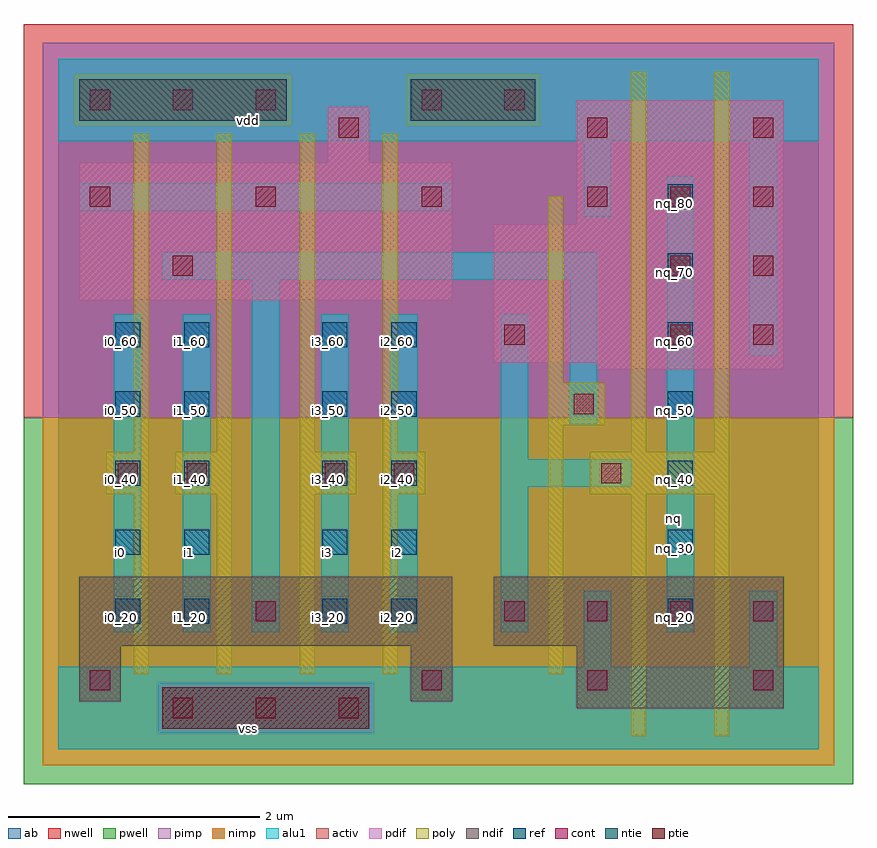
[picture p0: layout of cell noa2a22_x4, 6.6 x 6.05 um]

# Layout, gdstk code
import gdstk
lib = gdstk.Library(unit=1e-6, precision=2.5e-09)
def R(c, l, rs):  # rectangles x0, y0, x1, y1
    for r in rs: c.add(gdstk.rectangle(r[:2], r[2:], *l))
def A(c, l, x, y, w, h, nx, ny, dx, dy):  # array of equal rectangles
    R(c, l, [(x+i*dx, y+j*dy, x+i*dx+w, y+j*dy+h) for i in range(nx) for j in range(ny)])
ndif = (3, 0)
pdif = (4, 0)
ntie = (5, 0)
ptie = (6, 0)
ref = (24, 0)
cont = (25, 0)
pwell = (41, 0)
nwell = (42, 0)
activ = (43, 0)
pimp = (44, 0)
nimp = (45, 0)
poly = (46, 0)
alu1 = (49, 0)
ab = (63, 0)

noa2a22_x4 = lib.new_cell('noa2a22_x4')
R(noa2a22_x4, ndif, [(4.125,0.33,5.775,0.825), (0.165,0.385,0.495,0.825), (2.805,0.385,3.135,0.825), (0.165,0.825,3.135,1.375), (3.465,0.825,5.775,1.375)])
R(noa2a22_x4, pdif, [(4.29,3.025,5.775,3.08), (3.465,3.08,5.775,4.18), (0.165,3.575,3.135,4.675), (4.125,4.18,5.775,5.17), (2.145,4.675,2.475,5.115)])
R(noa2a22_x4, ntie, [(0.165,5.005,1.815,5.335), (2.805,5.005,3.795,5.335)])
R(noa2a22_x4, ptie, [(0.825,0.165,2.475,0.495)])
A(noa2a22_x4, ref, 0.45, 1, 0.2, 0.2, 1, 5, 0, 0.55)
A(noa2a22_x4, ref, 1, 1, 0.2, 0.2, 1, 5, 0, 0.55)
A(noa2a22_x4, ref, 2.1, 1, 0.2, 0.2, 1, 5, 0, 0.55)
A(noa2a22_x4, ref, 2.65, 1, 0.2, 0.2, 1, 5, 0, 0.55)
A(noa2a22_x4, ref, 4.85, 1, 0.2, 0.2, 1, 7, 0, 0.55)
A(noa2a22_x4, cont, 0.91, 0.25, 0.16, 0.16, 3, 1, 0.66, 0)
A(noa2a22_x4, cont, 2.89, 0.47, 0.16, 0.16, 3, 1, 1.32, 0)
A(noa2a22_x4, cont, 3.55, 1.02, 0.16, 0.16, 4, 1, 0.66, 0)
A(noa2a22_x4, cont, 4.87, 3.22, 0.16, 0.16, 1, 3, 0, 0.55)
A(noa2a22_x4, cont, 5.53, 3.22, 0.16, 0.16, 1, 4, 0, 0.55)
A(noa2a22_x4, cont, 0.25, 4.32, 0.16, 0.16, 4, 1, 1.32, 0)
A(noa2a22_x4, cont, 0.25, 5.09, 0.16, 0.16, 3, 1, 0.66, 0)
R(noa2a22_x4, cont, [(0.25,0.47,0.41,0.63), (1.57,1.02,1.73,1.18), (0.47,2.12,0.63,2.28), (1.02,2.12,1.18,2.28), (2.12,2.12,2.28,2.28), (2.67,2.12,2.83,2.28), (4.32,2.12,4.48,2.28), (4.1,2.67,4.26,2.83), (3.55,3.22,3.71,3.38), (0.91,3.77,1.07,3.93), (2.23,4.87,2.39,5.03), (4.21,4.87,4.37,5.03), (2.89,5.09,3.05,5.25), (3.55,5.09,3.71,5.25)])
R(noa2a22_x4, pwell, [(-0.275,-0.275,6.325,2.64)])
R(noa2a22_x4, nwell, [(-0.275,2.64,6.325,5.775)])
R(noa2a22_x4, activ, [(0.825,0.165,2.475,0.495), (4.125,0.33,5.775,0.825), (0.165,0.385,0.495,0.825), (2.805,0.385,3.135,0.825), (0.165,0.825,3.135,1.375), (3.465,0.825,5.775,1.375), (4.29,3.025,5.775,3.08), (3.465,3.08,5.775,4.18), (0.165,3.575,3.135,4.675), (4.125,4.18,5.775,5.17), (2.145,4.675,2.475,5.115), (0.165,5.005,1.815,5.335), (2.805,5.005,3.795,5.335)])
R(noa2a22_x4, pimp, [(0.785,0.125,2.515,0.535), (-0.125,2.64,6.175,4.965), (-0.125,4.965,0.125,5.375), (1.855,4.965,2.765,5.375), (3.835,4.965,6.175,5.375), (-0.125,5.375,6.175,5.625)])
R(noa2a22_x4, nimp, [(-0.125,-0.125,6.175,0.125), (-0.125,0.125,0.785,0.535), (2.515,0.125,6.175,0.535), (-0.125,0.535,6.175,2.64), (0.125,4.965,1.855,5.375), (2.765,4.965,3.835,5.375)])
A(noa2a22_x4, poly, 0.6, 0.6, 0.12, 1.43, 4, 1, 0.66, 0)
A(noa2a22_x4, poly, 0.6, 2.37, 0.12, 2.53, 4, 1, 0.66, 0)
R(noa2a22_x4, poly, [(4.56,0.105,4.68,2.03), (5.22,0.105,5.34,2.03), (3.9,0.6,4.02,2.58), (0.38,2.03,0.72,2.37), (0.93,2.03,1.38,2.37), (1.92,2.03,2.37,2.37), (2.58,2.03,2.92,2.37), (4.23,2.03,5.34,2.37), (4.56,2.37,4.68,5.395), (5.22,2.37,5.34,5.395), (3.9,2.58,4.35,2.92), (3.9,2.92,4.02,4.405)])
R(noa2a22_x4, alu1, [(0,0,6.05,0.66), (4.18,0.66,4.4,1.265), (5.5,0.66,5.72,1.265), (0.44,0.935,0.66,3.465), (0.99,0.935,1.21,3.465), (1.54,0.935,1.76,3.74), (2.09,0.935,2.31,3.465), (2.64,0.935,2.86,3.465), (3.52,0.935,3.74,2.09), (4.84,0.935,5.06,4.565), (3.52,2.09,4.565,2.31), (3.52,2.31,3.74,3.465), (4.07,2.585,4.29,3.74), (5.5,3.135,5.72,4.84), (0.825,3.74,4.29,3.96), (4.18,4.235,4.4,4.84), (0.165,4.29,3.135,4.51), (0,4.84,6.05,5.5)])
R(noa2a22_x4, ab, [(0,0,6.05,5.5)])
noa2a22_x4.add(gdstk.Label('vss', (1.5125,0.165), layer=49, texttype=0))
noa2a22_x4.add(gdstk.Label('nq', (4.895,1.8425), layer=49, texttype=0))
noa2a22_x4.add(gdstk.Label('i2', (2.695,1.5675), layer=49, texttype=0))
noa2a22_x4.add(gdstk.Label('i3', (2.145,1.5675), layer=49, texttype=0))
noa2a22_x4.add(gdstk.Label('i1', (1.045,1.5675), layer=49, texttype=0))
noa2a22_x4.add(gdstk.Label('i0', (0.495,1.5675), layer=49, texttype=0))
noa2a22_x4.add(gdstk.Label('vdd', (1.5125,5.005), layer=49, texttype=0))
noa2a22_x4.add(gdstk.Label('nq_50', (4.9,2.7), layer=24, texttype=0))
noa2a22_x4.add(gdstk.Label('nq_30', (4.9,1.6), layer=24, texttype=0))
noa2a22_x4.add(gdstk.Label('nq_20', (4.9,1.05), layer=24, texttype=0))
noa2a22_x4.add(gdstk.Label('nq_40', (4.9,2.15), layer=24, texttype=0))
noa2a22_x4.add(gdstk.Label('nq_60', (4.9,3.25), layer=24, texttype=0))
noa2a22_x4.add(gdstk.Label('nq_70', (4.9,3.8), layer=24, texttype=0))
noa2a22_x4.add(gdstk.Label('i0_20', (0.5,1.05), layer=24, texttype=0))
noa2a22_x4.add(gdstk.Label('i0_30', (0.5,1.6), layer=24, texttype=0))
noa2a22_x4.add(gdstk.Label('i0_40', (0.5,2.15), layer=24, texttype=0))
noa2a22_x4.add(gdstk.Label('i0_50', (0.5,2.7), layer=24, texttype=0))
noa2a22_x4.add(gdstk.Label('i0_60', (0.5,3.25), layer=24, texttype=0))
noa2a22_x4.add(gdstk.Label('i1_60', (1.05,3.25), layer=24, texttype=0))
noa2a22_x4.add(gdstk.Label('i1_50', (1.05,2.7), layer=24, texttype=0))
noa2a22_x4.add(gdstk.Label('i1_40', (1.05,2.15), layer=24, texttype=0))
noa2a22_x4.add(gdstk.Label('i1_30', (1.05,1.6), layer=24, texttype=0))
noa2a22_x4.add(gdstk.Label('i1_20', (1.05,1.05), layer=24, texttype=0))
noa2a22_x4.add(gdstk.Label('i3_20', (2.15,1.05), layer=24, texttype=0))
noa2a22_x4.add(gdstk.Label('i3_30', (2.15,1.6), layer=24, texttype=0))
noa2a22_x4.add(gdstk.Label('i3_40', (2.15,2.15), layer=24, texttype=0))
noa2a22_x4.add(gdstk.Label('i3_50', (2.15,2.7), layer=24, texttype=0))
noa2a22_x4.add(gdstk.Label('i3_60', (2.15,3.25), layer=24, texttype=0))
noa2a22_x4.add(gdstk.Label('i2_60', (2.7,3.25), layer=24, texttype=0))
noa2a22_x4.add(gdstk.Label('i2_50', (2.7,2.7), layer=24, texttype=0))
noa2a22_x4.add(gdstk.Label('i2_40', (2.7,2.15), layer=24, texttype=0))
noa2a22_x4.add(gdstk.Label('i2_30', (2.7,1.6), layer=24, texttype=0))
noa2a22_x4.add(gdstk.Label('i2_20', (2.7,1.05), layer=24, texttype=0))
noa2a22_x4.add(gdstk.Label('nq_80', (4.9,4.35), layer=24, texttype=0))

lib.write_gds('noa2a22_x4.gds')
